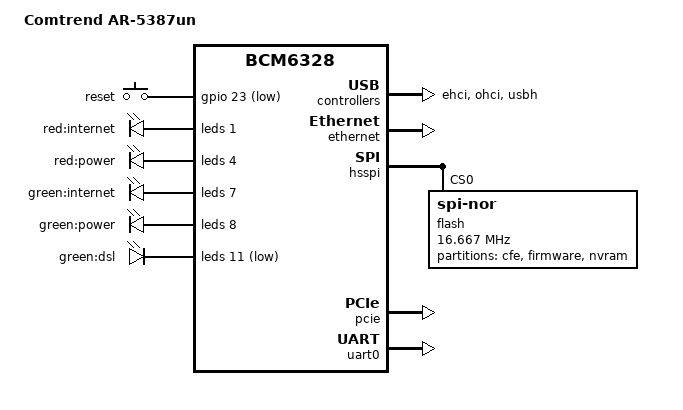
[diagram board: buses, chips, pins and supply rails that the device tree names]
// SPDX-License-Identifier: GPL-2.0-or-later

#include "bcm6328.dtsi"

/ {
	model = "Comtrend AR-5387un";
	compatible = "comtrend,ar-5387un", "brcm,bcm6328";

	aliases {
		led-boot = &led_power_green;
		led-failsafe = &led_power_red;
		led-running = &led_power_green;
		led-upgrade = &led_power_green;

		led-dsl = &led_dsl_green;
		led-internet = &led_internet_green;
	};

	keys {
		compatible = "gpio-keys-polled";
		poll-interval = <20>;

		reset {
			label = "reset";
			gpios = <&gpio 23 GPIO_ACTIVE_LOW>;
			linux,code = <KEY_RESTART>;
			debounce-interval = <60>;
		};
	};

	bcm43225-sprom {
		compatible = "brcm,bcm43225-sprom";

		pci-bus = <1>;
		pci-dev = <0>;

		mtd-mac-address = <&cfe 0x6a0>;
		mtd-mac-address-increment = <1>;

		brcm,sprom-fixups = <2 0x05bb>,
				    <65 0x1204>,
				    <78 0x0303>,
				    <79 0x0202>,
				    <80 0xff02>,
				    <87 0x0315>,
				    <88 0x0315>,
				    <96 0x2048>,
				    <97 0xff11>,
				    <98 0x1567>,
				    <99 0xfb24>,
				    <100 0x3e3c>,
				    <101 0x4038>,
				    <102 0xfe7f>,
				    <103 0x1279>,
				    <112 0x2048>,
				    <113 0xff03>,
				    <114 0x154c>,
				    <115 0xfb27>,
				    <116 0x3e3c>,
				    <117 0x4038>,
				    <118 0xfe87>,
				    <119 0x1233>,
				    <203 0x2226>;
	};
};

&ehci {
	status = "okay";
};

&ethernet {
	status = "okay";

	mtd-mac-address = <&cfe 0x6a0>;
};

&hsspi {
	status = "okay";

	flash@0 {
		compatible = "jedec,spi-nor";
		spi-max-frequency = <16666667>;
		spi-tx-bus-width = <2>;
		spi-rx-bus-width = <2>;
		reg = <0>;

		#address-cells = <1>;
		#size-cells = <1>;

		partitions {
			compatible = "fixed-partitions";
			#address-cells = <1>;
			#size-cells = <1>;

			cfe: partition@0 {
				reg = <0x000000 0x010000>;
				label = "cfe";
				read-only;
			};

			partition@10000 {
				compatible = "brcm,bcm963xx-imagetag";
				reg = <0x010000 0xfe0000>;
				label = "firmware";
			};

			partition@ff0000 {
				reg = <0xff0000 0x010000>;
				label = "nvram";
			};
		};
	};
};

&leds {
	status = "okay";

	pinctrl-names = "default";
	pinctrl-0 = <&pinctrl_leds>;

	led@1 {
		reg = <1>;
		label = "red:internet";
	};

	led_power_red: led@4 {
		reg = <4>;
		label = "red:power";
	};

	led_internet_green: led@7 {
		reg = <7>;
		label = "green:internet";
	};

	led_power_green: led@8 {
		reg = <8>;
		label = "green:power";
	};

	led_dsl_green: led@11 {
		reg = <11>;
		active-low;
		label = "green:dsl";
	};
};

&ohci {
	status = "okay";
};

&pcie {
	status = "okay";
};

&pinctrl {
	pinctrl_leds: leds {
		function = "led";
		pins = "gpio1", "gpio4", "gpio7",
		       "gpio8", "gpio11";
	};
};

&switch0 {
	ports {
		port@0 {
			reg = <0>;
			label = "lan1";

			phy-handle = <&phy1>;
		};

		port@1 {
			reg = <1>;
			label = "lan2";

			phy-handle = <&phy2>;
		};

		port@2 {
			reg = <2>;
			label = "lan3";

			phy-handle = <&phy3>;
		};

		port@3 {
			reg = <3>;
			label = "lan4";

			phy-handle = <&phy4>;
		};
	};
};

&uart0 {
	status = "okay";
};

&usbh {
	status = "okay";
};
